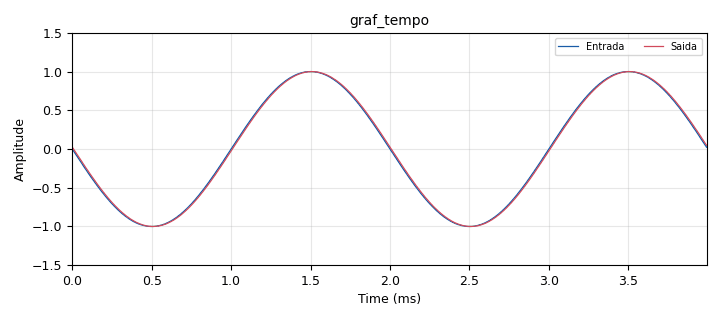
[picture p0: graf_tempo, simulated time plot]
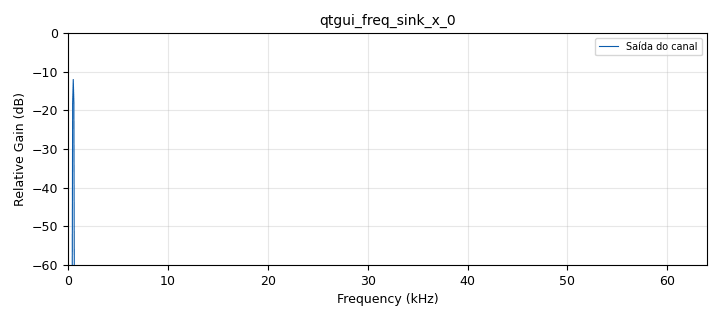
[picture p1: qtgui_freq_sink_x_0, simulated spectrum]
options:
  parameters:
    author: Leocarlos Bezerra da Silva Lima
    category: Custom
    description: Experimento para Laboratório de Princípios de Comunicações. Departamento de Engenharia Elétrica - DEE da Universidade Federal de Campina Grande - UFCG.
    generate_options: qt_gui
    id: Labo1_3
    output_language: python
    title: Distorcao de sinais em canais de comunicacao
  states: {}

blocks:
- name: a
  id: variable_qtgui_range
  parameters:
    label: Attenuação
    start: '0'
    step: '0.1'
    stop: '0.5'
    value: '0.5'
  states: {}
- name: freq
  id: variable_qtgui_range
  parameters:
    label: Frequência
    start: samp_rate/512
    step: '100'
    stop: samp_rate/2
    value: samp_rate/256
  states: {}
- name: samp_rate
  id: variable
  parameters:
    value: '128000'
  states: {}
- name: blocks_delay_0_0
  id: blocks_delay
  parameters:
    delay: '2'
    type: float
  states: {}
- name: blocks_multiply_const_vxx_0_0
  id: blocks_multiply_const_vxx
  parameters:
    const: a
    type: float
  states: {}
- name: blocks_multiply_const_vxx_0_0_0
  id: blocks_multiply_const_vxx
  parameters:
    const: '0.5'
    type: float
  states: {}
- name: blocks_throttle_0
  id: blocks_throttle
  parameters:
    samples_per_second: samp_rate
    type: float
  states: {}
- name: fundamental
  id: analog_sig_source_x
  parameters:
    amp: '1'
    freq: freq
    offset: '0'
    phase: '0'
    samp_rate: samp_rate
    type: float
    waveform: analog.GR_COS_WAVE
  states: {}
- name: graf_tempo
  id: qtgui_time_sink_x
  parameters:
    ctrlpanel: 'True'
    grid: 'True'
    gui_hint: 0, 0, 2, 2
    label1: Entrada
    label2: Saida
    nconnections: '2'
    size: '512'
    srate: samp_rate
    type: float
    update_time: '0.1'
    ymax: '1.5'
    ymin: '-1.5'
  states: {}
- name: qtgui_freq_sink_x_0
  id: qtgui_freq_sink_x
  parameters:
    bw: samp_rate
    ctrlpanel: 'True'
    fc: '0'
    fftsize: '2048'
    freqhalf: 'False'
    grid: 'True'
    gui_hint: 0,2,2,2
    label1: Saída do canal
    showports: 'True'
    type: float
    update_time: '0.5'
    wintype: window.WIN_HANN
    ymax: '0'
    ymin: '-60'
  states: {}
- name: somador
  id: blocks_add_xx
  parameters:
    type: float
  states: {}

connections:
- [blocks_delay_0_0, '0', somador, '1']
- [blocks_multiply_const_vxx_0_0, '0', blocks_delay_0_0, '0']
- [blocks_multiply_const_vxx_0_0_0, '0', somador, '0']
- [blocks_throttle_0, '0', blocks_multiply_const_vxx_0_0_0, '0']
- [fundamental, '0', blocks_multiply_const_vxx_0_0, '0']
- [fundamental, '0', blocks_throttle_0, '0']
- [fundamental, '0', graf_tempo, '0']
- [somador, '0', graf_tempo, '1']
- [somador, '0', qtgui_freq_sink_x_0, '0']

metadata:
  file_format: 1
  grc_version: 3.10.7.0
